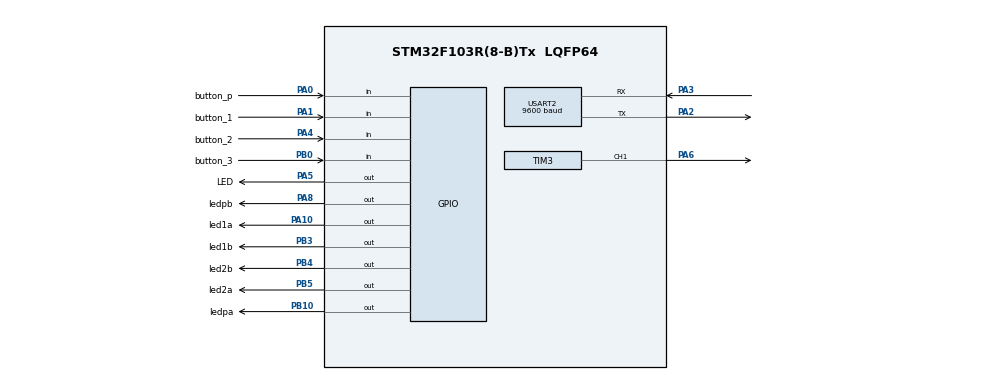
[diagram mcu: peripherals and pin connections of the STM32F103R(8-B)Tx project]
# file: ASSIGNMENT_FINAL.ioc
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Mcu.Family=STM32F1
Mcu.Name=STM32F103R(8-B)Tx
Mcu.Package=LQFP64
NVIC.PriorityGroup=NVIC_PRIORITYGROUP_4
NVIC.TIM2_IRQn=true\:0\:0\:false\:false\:true\:true\:true
NVIC.USART2_IRQn=true\:0\:0\:false\:false\:true\:true\:true
PA0-WKUP.GPIO_Label=button_p
PA0-WKUP.GPIO_PuPd=GPIO_PULLUP
PA0-WKUP.Signal=GPIO_Input
PA1.GPIO_Label=button_1
PA1.GPIO_PuPd=GPIO_PULLUP
PA1.Signal=GPIO_Input
PA10.GPIO_Label=led1a
PA10.GPIO_PuPd=GPIO_PULLUP
PA10.Signal=GPIO_Output
PA13.Mode=Serial_Wire
PA13.Signal=SYS_JTMS-SWDIO
PA14.Mode=Serial_Wire
PA14.Signal=SYS_JTCK-SWCLK
PA2.Mode=Asynchronous
PA2.Signal=USART2_TX
PA3.Mode=Asynchronous
PA3.Signal=USART2_RX
PA4.GPIO_Label=button_2
PA4.Signal=GPIO_Input
PA5.GPIO_Label=LED
PA5.Signal=GPIO_Output
PA6.Signal=S_TIM3_CH1
PA8.GPIO_Label=ledpb
PA8.Signal=GPIO_Output
PB0.GPIO_Label=button_3
PB0.GPIO_PuPd=GPIO_PULLUP
PB0.Signal=GPIO_Input
PB10.GPIO_Label=ledpa
PB10.Signal=GPIO_Output
PB3.GPIO_Label=led1b
PB3.GPIO_PuPd=GPIO_PULLUP
PB3.Signal=GPIO_Output
PB4.GPIO_Label=led2b
PB4.Signal=GPIO_Output
PB5.GPIO_Label=led2a
PB5.Signal=GPIO_Output
ProjectManager.HeapSize=0x200
ProjectManager.StackSize=0x400
ProjectManager.TargetToolchain=STM32CubeIDE
RCC.APB1Freq_Value=8000000
RCC.APB2Freq_Value=8000000
SH.S_TIM3_CH1.0=TIM3_CH1,PWM Generation1 CH1
TIM2.Period=9
TIM2.Prescaler=7999
TIM3.Channel-PWM\ Generation1\ CH1=TIM_CHANNEL_1
TIM3.Period=999
TIM3.Prescaler=63
USART2.BaudRate=9600
USART2.VirtualMode=VM_ASYNC
VP_TIM2_VS_ClockSourceINT.Mode=Internal
VP_TIM3_VS_ClockSourceINT.Mode=Internal
board=custom

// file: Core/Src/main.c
/* USER CODE BEGIN Header */
/**
  ******************************************************************************
  * @file           : main.c
  * @brief          : Main program body
  ******************************************************************************
  * @attention
  *
  * <h2><center>&copy; Copyright (c) 2022 STMicroelectronics.
  * All rights reserved.</center></h2>
  *
  * This software component is licensed by ST under BSD 3-Clause license,
  * the "License"; You may not use this file except in compliance with the
  * License. You may obtain a copy of the License at:
  *                        opensource.org/licenses/BSD-3-Clause
  *
  ******************************************************************************
  */
/* USER CODE END Header */
#include "main.h"

/* USER CODE BEGIN Includes */
#include "scheduler.h"
#include "global.h"
#include "timer.h"
#include "DHT20_Handle.h"
#include <stdio.h>
#include "com_handle.h"

/* USER CODE END Includes */

/* USER CODE BEGIN PD */

//uint8_t Get_value()
//{
//	return HAL_ADC_GetValue(& hadc1 );
//}
//uint8_t ADC_value = 0;
//void Send_value()
//{
//	char str[30];
//	if(ack == 1)
//	{
//		ADC_value = Get_value();
//	}
//	HAL_UART_Transmit (& huart2 , ( void *) str , sprintf ( str , "#ADC=%ld!\n\r",ADC_value) , 1000) ;
//
//}

/* USER CODE END PD */

TIM_HandleTypeDef htim2;
TIM_HandleTypeDef htim3;

UART_HandleTypeDef huart2;

/* USER CODE BEGIN PV */
/* Please create new tasks here, using our existing method*/

void Toogle_Led()
{
	HAL_GPIO_TogglePin(GPIOA, LED_Pin);
//	HAL_UART_Transmit(&huart2, (void*)str, sprintf(str, "HELLO\n\r"), 1000);
}
void Turn_On()
{
	HAL_GPIO_WritePin(GPIOA, LED_Pin, 1);// confirm state

//	HAL_UART_Transmit(&huart2, (void*)str, sprintf(str, "HELLO\n\r"), 1000);
}
void Turn_Off()
{
	HAL_GPIO_WritePin(GPIOA, LED_Pin, 0);
//	HAL_UART_Transmit(&huart2, (void*)str, sprintf(str, "HELLO\n\r"), 1000);
}
void Print_HELLO()
{
	char str[30];
	HAL_UART_Transmit(&huart2, (void*)str, sprintf(str, "HELLO\n\r"), 1000);
//	Toogle_Led();
}
void Print_Send()
{
	char str[30];
	HAL_UART_Transmit(&huart2, (void*)str, sprintf(str, "send success\n\r"), 1000);
//	Toogle_Led();
}
void Print_Ack()
{
	char str[30];
	HAL_UART_Transmit(&huart2, (void*)str, sprintf(str, "received success  \n\r"), 1000);
//	Toogle_Led();
}

void Print(char* temp)
{
	char str[30];
	HAL_UART_Transmit(&huart2, (void*)str, sprintf(str, "The string is: %s\n\r", temp), 1000);
}
void send_data(char* sensorValues){
	char str[30];
	sensorValues = make_data();
	HAL_UART_Transmit(&huart2, (void*)str, sprintf(str, "%s", sensorValues), 1000);
}

/* USER CODE END PV */

void SystemClock_Config(void);
static void MX_GPIO_Init(void);
static void MX_TIM2_Init(void);
static void MX_USART2_UART_Init(void);
static void MX_TIM3_Init(void);

/* USER CODE BEGIN 0 */
uint8_t temp = 0;
uint8_t buffer[MAX_BUFFER_SIZE];
uint8_t index_buffer = 0;
uint8_t buffer_flag = 0;

void HAL_UART_RxCpltCallback(UART_HandleTypeDef *huart){

	if(huart->Instance == USART2)
	{
		HAL_UART_Transmit(&huart2, &temp, 1, 50);
		if(temp != '#')
		{
			buffer[index_buffer++] = temp;
		}
		else
		{
			cmd_parser();
			memset(buffer, 0, sizeof(buffer));
			index_buffer = 0;
		}
		HAL_UART_Receive_IT(&huart2, &temp, 1);
	}
}
/* USER CODE END 0 */

int main(void)
{
  /* USER CODE BEGIN 1 */
//	Print_HELLO();
  /* USER CODE END 1 */

  /* MCU Configuration--------------------------------------------------------*/

  /* Reset of all peripherals, Initializes the Flash interface and the Systick. */
  HAL_Init();

  /* Configure the system clock */
  SystemClock_Config();

  /* USER CODE BEGIN SysInit */
  MX_GPIO_Init ();
  /* USER CODE END SysInit */

  /* Initialize all configured peripherals */
  MX_GPIO_Init();
  MX_TIM2_Init();
  MX_USART2_UART_Init();
  MX_TIM3_Init();
  /* USER CODE BEGIN 2 */
//  HAL_TIM_PWM_Start(&htim3, TIM_CHANNEL_1);
  HAL_TIM_Base_Start_IT (& htim2);
  /* USER CODE END 2 */

  /* Infinite loop */
  /* USER CODE BEGIN WHILE */

  Print_HELLO();
  SCH_Init();

  HAL_UART_Receive_IT(&huart2, &temp, 1);
  cmd_init();
  uart_communiction_innit();

  setTimer0(1);
  SCH_Add_Task(timerRun0, 15, 10);
  SCH_Add_Task(read_data, 10, 500);
//  SCH_Add_Task(Print_HELLO, 0, 5000);
//  SCH_Add_Task(uart_communication_fsm,15,1);

  while (1)
  {
	  SCH_Dispatch_Tasks();
	  uart_communication_fsm() ;
    /* USER CODE END WHILE */

  }
}

void SystemClock_Config(void)
{
  RCC_OscInitTypeDef RCC_OscInitStruct = {0};
  RCC_ClkInitTypeDef RCC_ClkInitStruct = {0};

  /** Initializes the RCC Oscillators according to the specified parameters
  * in the RCC_OscInitTypeDef structure.
  */
  RCC_OscInitStruct.OscillatorType = RCC_OSCILLATORTYPE_HSI;
  RCC_OscInitStruct.HSIState = RCC_HSI_ON;
  RCC_OscInitStruct.HSICalibrationValue = RCC_HSICALIBRATION_DEFAULT;
  RCC_OscInitStruct.PLL.PLLState = RCC_PLL_NONE;
  if (HAL_RCC_OscConfig(&RCC_OscInitStruct) != HAL_OK)
  {
    Error_Handler();
  }
  /** Initializes the CPU, AHB and APB buses clocks
  */
  RCC_ClkInitStruct.ClockType = RCC_CLOCKTYPE_HCLK|RCC_CLOCKTYPE_SYSCLK
                              |RCC_CLOCKTYPE_PCLK1|RCC_CLOCKTYPE_PCLK2;
  RCC_ClkInitStruct.SYSCLKSource = RCC_SYSCLKSOURCE_HSI;
  RCC_ClkInitStruct.AHBCLKDivider = RCC_SYSCLK_DIV1;
  RCC_ClkInitStruct.APB1CLKDivider = RCC_HCLK_DIV1;
  RCC_ClkInitStruct.APB2CLKDivider = RCC_HCLK_DIV1;

  if (HAL_RCC_ClockConfig(&RCC_ClkInitStruct, FLASH_LATENCY_0) != HAL_OK)
  {
    Error_Handler();
  }
}

static void MX_TIM2_Init(void)
{

  TIM_ClockConfigTypeDef sClockSourceConfig = {0};
  TIM_MasterConfigTypeDef sMasterConfig = {0};

  htim2.Instance = TIM2;
  htim2.Init.Prescaler = 7999;
  htim2.Init.CounterMode = TIM_COUNTERMODE_UP;
  htim2.Init.Period = 9;
  htim2.Init.ClockDivision = TIM_CLOCKDIVISION_DIV1;
  htim2.Init.AutoReloadPreload = TIM_AUTORELOAD_PRELOAD_DISABLE;
  if (HAL_TIM_Base_Init(&htim2) != HAL_OK)
  {
    Error_Handler();
  }
  sClockSourceConfig.ClockSource = TIM_CLOCKSOURCE_INTERNAL;
  if (HAL_TIM_ConfigClockSource(&htim2, &sClockSourceConfig) != HAL_OK)
  {
    Error_Handler();
  }
  sMasterConfig.MasterOutputTrigger = TIM_TRGO_RESET;
  sMasterConfig.MasterSlaveMode = TIM_MASTERSLAVEMODE_DISABLE;
  if (HAL_TIMEx_MasterConfigSynchronization(&htim2, &sMasterConfig) != HAL_OK)
  {
    Error_Handler();
  }

}

static void MX_TIM3_Init(void)
{

  TIM_ClockConfigTypeDef sClockSourceConfig = {0};
  TIM_MasterConfigTypeDef sMasterConfig = {0};
  TIM_OC_InitTypeDef sConfigOC = {0};

  htim3.Instance = TIM3;
  htim3.Init.Prescaler = 63;
  htim3.Init.CounterMode = TIM_COUNTERMODE_UP;
  htim3.Init.Period = 999;
  htim3.Init.ClockDivision = TIM_CLOCKDIVISION_DIV1;
  htim3.Init.AutoReloadPreload = TIM_AUTORELOAD_PRELOAD_DISABLE;
  if (HAL_TIM_Base_Init(&htim3) != HAL_OK)
  {
    Error_Handler();
  }
  sClockSourceConfig.ClockSource = TIM_CLOCKSOURCE_INTERNAL;
  if (HAL_TIM_ConfigClockSource(&htim3, &sClockSourceConfig) != HAL_OK)
  {
    Error_Handler();
  }
  if (HAL_TIM_PWM_Init(&htim3) != HAL_OK)
  {
    Error_Handler();
  }
  sMasterConfig.MasterOutputTrigger = TIM_TRGO_RESET;
  sMasterConfig.MasterSlaveMode = TIM_MASTERSLAVEMODE_DISABLE;
  if (HAL_TIMEx_MasterConfigSynchronization(&htim3, &sMasterConfig) != HAL_OK)
  {
    Error_Handler();
  }
  sConfigOC.OCMode = TIM_OCMODE_PWM1;
  sConfigOC.Pulse = 0;
  sConfigOC.OCPolarity = TIM_OCPOLARITY_HIGH;
  sConfigOC.OCFastMode = TIM_OCFAST_DISABLE;
  if (HAL_TIM_PWM_ConfigChannel(&htim3, &sConfigOC, TIM_CHANNEL_1) != HAL_OK)
  {
    Error_Handler();
  }
  HAL_TIM_MspPostInit(&htim3);

}

static void MX_USART2_UART_Init(void)
{

  huart2.Instance = USART2;
  huart2.Init.BaudRate = 9600;
  huart2.Init.WordLength = UART_WORDLENGTH_8B;
  huart2.Init.StopBits = UART_STOPBITS_1;
  huart2.Init.Parity = UART_PARITY_NONE;
  huart2.Init.Mode = UART_MODE_TX_RX;
  huart2.Init.HwFlowCtl = UART_HWCONTROL_NONE;
  huart2.Init.OverSampling = UART_OVERSAMPLING_16;
  if (HAL_UART_Init(&huart2) != HAL_OK)
  {
    Error_Handler();
  }

}

static void MX_GPIO_Init(void)
{
  GPIO_InitTypeDef GPIO_InitStruct = {0};

  /* GPIO Ports Clock Enable */
  __HAL_RCC_GPIOA_CLK_ENABLE();
  __HAL_RCC_GPIOB_CLK_ENABLE();

  /*Configure GPIO pin Output Level */
  HAL_GPIO_WritePin(GPIOA, LED_Pin|ledpb_Pin|led1a_Pin, GPIO_PIN_RESET);

  /*Configure GPIO pin Output Level */
  HAL_GPIO_WritePin(GPIOB, ledpa_Pin|led1b_Pin|led2b_Pin|led2a_Pin, GPIO_PIN_RESET);

  /*Configure GPIO pins : button_p_Pin button_1_Pin */
  GPIO_InitStruct.Pin = button_p_Pin|button_1_Pin;
  GPIO_InitStruct.Mode = GPIO_MODE_INPUT;
  GPIO_InitStruct.Pull = GPIO_PULLUP;
  HAL_GPIO_Init(GPIOA, &GPIO_InitStruct);

  /*Configure GPIO pin : button_2_Pin */
  GPIO_InitStruct.Pin = button_2_Pin;
  GPIO_InitStruct.Mode = GPIO_MODE_INPUT;
  GPIO_InitStruct.Pull = GPIO_NOPULL;
  HAL_GPIO_Init(button_2_GPIO_Port, &GPIO_InitStruct);

  /*Configure GPIO pins : LED_Pin ledpb_Pin */
  GPIO_InitStruct.Pin = LED_Pin|ledpb_Pin;
  GPIO_InitStruct.Mode = GPIO_MODE_OUTPUT_PP;
  GPIO_InitStruct.Pull = GPIO_NOPULL;
  GPIO_InitStruct.Speed = GPIO_SPEED_FREQ_LOW;
  HAL_GPIO_Init(GPIOA, &GPIO_InitStruct);

  /*Configure GPIO pin : button_3_Pin */
  GPIO_InitStruct.Pin = button_3_Pin;
  GPIO_InitStruct.Mode = GPIO_MODE_INPUT;
  GPIO_InitStruct.Pull = GPIO_PULLUP;
  HAL_GPIO_Init(button_3_GPIO_Port, &GPIO_InitStruct);

  /*Configure GPIO pins : ledpa_Pin led2b_Pin led2a_Pin */
  GPIO_InitStruct.Pin = ledpa_Pin|led2b_Pin|led2a_Pin;
  GPIO_InitStruct.Mode = GPIO_MODE_OUTPUT_PP;
  GPIO_InitStruct.Pull = GPIO_NOPULL;
  GPIO_InitStruct.Speed = GPIO_SPEED_FREQ_LOW;
  HAL_GPIO_Init(GPIOB, &GPIO_InitStruct);

  /*Configure GPIO pin : led1a_Pin */
  GPIO_InitStruct.Pin = led1a_Pin;
  GPIO_InitStruct.Mode = GPIO_MODE_OUTPUT_PP;
  GPIO_InitStruct.Pull = GPIO_PULLUP;
  GPIO_InitStruct.Speed = GPIO_SPEED_FREQ_LOW;
  HAL_GPIO_Init(led1a_GPIO_Port, &GPIO_InitStruct);

  /*Configure GPIO pin : led1b_Pin */
  GPIO_InitStruct.Pin = led1b_Pin;
  GPIO_InitStruct.Mode = GPIO_MODE_OUTPUT_PP;
  GPIO_InitStruct.Pull = GPIO_PULLUP;
  GPIO_InitStruct.Speed = GPIO_SPEED_FREQ_LOW;
  HAL_GPIO_Init(led1b_GPIO_Port, &GPIO_InitStruct);

}

/* USER CODE BEGIN 4 */
void HAL_TIM_PeriodElapsedCallback ( TIM_HandleTypeDef * htim ){
	if( htim -> Instance == TIM2 ){
		SCH_Update();
		}
}
/* USER CODE END 4 */

void Error_Handler(void)
{
  __disable_irq();
  while (1)
  {
  }
}

/************************ (C) COPYRIGHT STMicroelectronics *****END OF FILE****/
